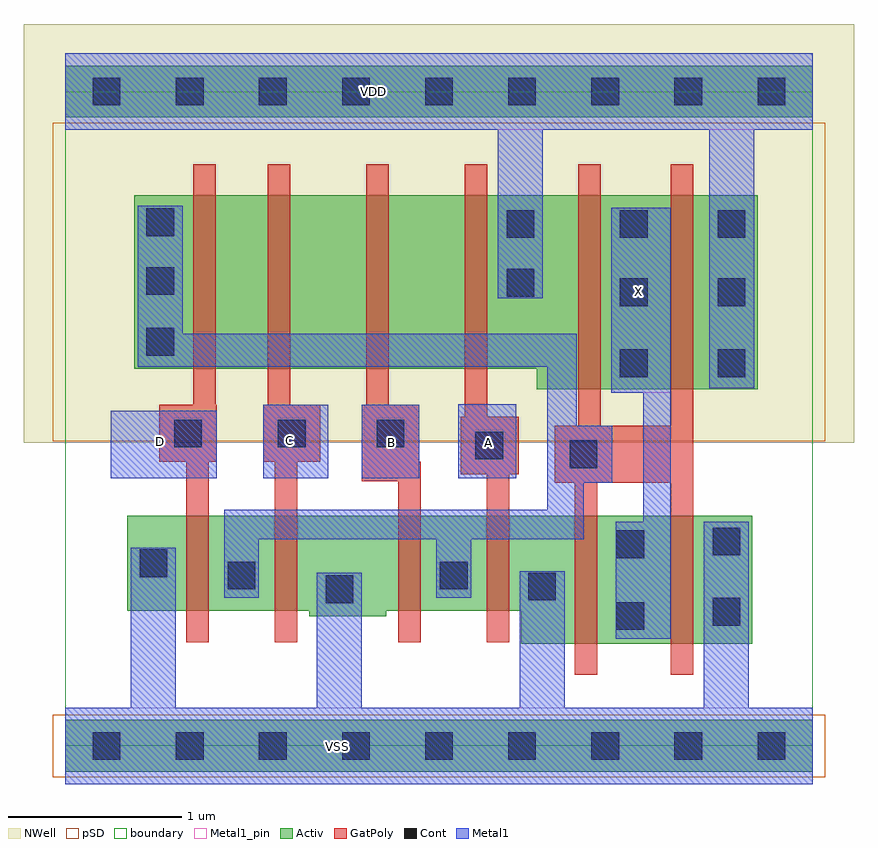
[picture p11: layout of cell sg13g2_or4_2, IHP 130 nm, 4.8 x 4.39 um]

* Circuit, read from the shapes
.subckt sg13g2_or4_2 A B C D VDD VSS X
XM1 n1 D VSS VSS sg13_lv_nmos w=0.55u l=0.13u
XM2 VSS C n1 VSS sg13_lv_nmos w=0.55u l=0.13u
XM3 n1 B VSS VSS sg13_lv_nmos w=0.55u l=0.13u
XM4 VSS A n1 VSS sg13_lv_nmos w=0.55u l=0.13u
XM5 X n1 VSS VSS sg13_lv_nmos w=0.74u l=0.13u m=2
XM6 n2 D n1 VDD sg13_lv_pmos w=1u l=0.13u
XM7 n3 C n2 VDD sg13_lv_pmos w=1u l=0.13u
XM8 n4 B n3 VDD sg13_lv_pmos w=1u l=0.13u
XM9 VDD A n4 VDD sg13_lv_pmos w=1u l=0.13u
XM10 X n1 VDD VDD sg13_lv_pmos w=1.12u l=0.13u m=2
.ends

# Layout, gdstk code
import gdstk
lib = gdstk.Library(unit=1e-6, precision=1e-09)
def R(c, l, rs):  # rectangles x0, y0, x1, y1
    for r in rs: c.add(gdstk.rectangle(r[:2], r[2:], *l))
def P(c, l, *ps):  # polygons
    for p in ps: c.add(gdstk.Polygon(p, *l))
Activ = (1, 0)
GatPoly = (5, 0)
Cont = (6, 0)
Metal1 = (8, 0)
Metal1_pin = (8, 2)
pSD = (14, 0)
NWell = (31, 0)
boundary = (189, 4)

sg13g2_or4_2 = lib.new_cell('sg13g2_or4_2')
R(sg13g2_or4_2, Activ, [(0,-0.15,4.32,0.15), (0,3.63,4.32,3.93)])
P(sg13g2_or4_2, Activ, [(4,3.18),(0.4,3.18),(0.4,2.18),(2.725,2.18),(2.725,2.06),(4,2.06)],
  [(3.97,1.33),(0.36,1.33),(0.36,0.78),(1.41,0.78),(1.41,0.75),(1.855,0.75),(1.855,0.78),(2.635,0.78),(2.635,0.59),(3.97,0.59)])
R(sg13g2_or4_2, GatPoly, [(3.5,0.41,3.63,1.52), (3.16,1.52,3.63,1.85), (3.5,1.84,3.63,1.88), (3.5,1.88,3.63,3.36)])
P(sg13g2_or4_2, GatPoly, [(1.475,1.97),(1.3,1.97),(1.3,3.36),(1.17,3.36),(1.17,1.97),(1.145,1.97),(1.145,1.64),(1.21,1.64),(1.21,0.6),(1.34,0.6),(1.34,1.64),(1.475,1.64)],
  [(3.16,1.85),(3.095,1.85),(3.095,3.36),(2.965,3.36),(2.965,1.85),(2.83,1.85),(2.83,1.52),(2.945,1.52),(2.945,0.41),(3.075,0.41),(3.075,1.52),(3.16,1.52)],
  [(2.045,1.97),(1.87,1.97),(1.87,3.36),(1.74,3.36),(1.74,1.97),(1.715,1.97),(1.715,1.53),(1.925,1.53),(1.925,0.6),(2.055,0.6),(2.055,1.64),(2.045,1.64)],
  [(2.62,1.9),(2.44,1.9),(2.44,3.36),(2.31,3.36),(2.31,1.9),(2.285,1.9),(2.285,1.57),(2.435,1.57),(2.435,0.6),(2.565,0.6),(2.565,1.57),(2.62,1.57)],
  [(0.87,3.36),(0.74,3.36),(0.74,1.97),(0.545,1.97),(0.545,1.64),(0.7,1.64),(0.7,0.6),(0.83,0.6),(0.83,1.64),(0.875,1.64),(0.875,1.97),(0.87,1.97)])
R(sg13g2_or4_2, Cont, [(0.16,-0.08,0.32,0.08), (0.16,-0.08,0.32,0.08), (0.64,-0.08,0.8,0.08), (0.64,-0.08,0.8,0.08), (1.12,-0.08,1.28,0.08), (1.12,-0.08,1.28,0.08), (1.6,-0.08,1.76,0.08), (1.6,-0.08,1.76,0.08), (2.08,-0.08,2.24,0.08), (2.08,-0.08,2.24,0.08), (2.56,-0.08,2.72,0.08), (2.56,-0.08,2.72,0.08), (3.04,-0.08,3.2,0.08), (3.04,-0.08,3.2,0.08), (3.52,-0.08,3.68,0.08), (3.52,-0.08,3.68,0.08), (4,-0.08,4.16,0.08), (3.185,0.67,3.345,0.83), (3.185,0.67,3.345,0.83), (3.74,0.695,3.9,0.855), (1.505,0.825,1.665,0.985), (2.675,0.84,2.835,1), (0.94,0.905,1.1,1.065), (2.165,0.905,2.325,1.065), (0.43,0.975,0.59,1.135), (3.185,1.085,3.345,1.245), (3.185,1.085,3.345,1.245), (3.74,1.1,3.9,1.26), (2.915,1.605,3.075,1.765), (2.37,1.655,2.53,1.815), (0.63,1.725,0.79,1.885), (1.23,1.725,1.39,1.885), (1.8,1.725,1.96,1.885), (3.205,2.13,3.365,2.29), (3.205,2.13,3.365,2.29), (3.77,2.13,3.93,2.29), (0.47,2.255,0.63,2.415), (3.205,2.54,3.365,2.7), (3.205,2.54,3.365,2.7), (3.77,2.54,3.93,2.7), (2.55,2.595,2.71,2.755), (0.47,2.605,0.63,2.765), (2.55,2.935,2.71,3.095), (3.205,2.935,3.365,3.095), (3.205,2.935,3.365,3.095), (3.77,2.935,3.93,3.095), (0.47,2.945,0.63,3.105), (0.16,3.7,0.32,3.86), (0.16,3.7,0.32,3.86), (0.64,3.7,0.8,3.86), (0.64,3.7,0.8,3.86), (1.12,3.7,1.28,3.86), (1.12,3.7,1.28,3.86), (1.6,3.7,1.76,3.86), (1.6,3.7,1.76,3.86), (2.08,3.7,2.24,3.86), (2.08,3.7,2.24,3.86), (2.56,3.7,2.72,3.86), (2.56,3.7,2.72,3.86), (3.04,3.7,3.2,3.86), (3.04,3.7,3.2,3.86), (3.52,3.7,3.68,3.86), (3.52,3.7,3.68,3.86), (4,3.7,4.16,3.86)])
R(sg13g2_or4_2, Metal1, [(0.265,1.545,0.875,1.935), (1.145,1.545,1.52,1.97), (1.715,1.545,2.045,1.97), (2.27,1.545,2.605,1.975)])
P(sg13g2_or4_2, Metal1, [(3.16,1.85),(2.955,1.85),(2.955,2.38),(0.68,2.38),(0.68,3.12),(0.42,3.12),(0.42,2.19),(2.785,2.19),(2.785,1.365),(0.92,1.365),(0.92,0.855),(1.12,0.855),(1.12,1.195),(2.145,1.195),(2.145,0.855),(2.345,0.855),(2.345,1.195),(2.995,1.195),(2.995,1.52),(3.16,1.52)],
  [(3.5,3.11),(3.155,3.11),(3.155,2.04),(3.34,2.04),(3.34,1.295),(3.18,1.295),(3.18,0.62),(3.5,0.62)],
  [(4.32,4),(0,4),(0,3.56),(2.5,3.56),(2.5,2.585),(2.76,2.585),(2.76,3.56),(3.72,3.56),(3.72,2.065),(3.98,2.065),(3.98,3.56),(4.32,3.56)],
  [(4.32,0.22),(3.95,0.22),(3.95,1.295),(3.69,1.295),(3.69,0.22),(2.885,0.22),(2.885,1.01),(2.625,1.01),(2.625,0.22),(1.715,0.22),(1.715,1),(1.455,1),(1.455,0.22),(0.64,0.22),(0.64,1.145),(0.38,1.145),(0.38,0.22),(0,0.22),(0,-0.22),(4.32,-0.22)])
R(sg13g2_or4_2, Metal1_pin, [(0,-0.22,4.32,0.22), (0.265,1.545,0.875,1.935), (1.145,1.545,1.52,1.97), (1.715,1.545,2.045,1.97), (2.27,1.545,2.605,1.975), (3.155,2.04,3.5,3.105), (0,3.56,4.32,4)])
R(sg13g2_or4_2, pSD, [(-0.07,-0.18,4.39,0.18), (-0.07,1.76,4.39,3.6)])
R(sg13g2_or4_2, NWell, [(-0.24,1.75,4.56,4.17)])
R(sg13g2_or4_2, boundary, [(0,0,4.32,3.78)])
sg13g2_or4_2.add(gdstk.Label('X', (3.315,2.625), layer=8, texttype=25))
sg13g2_or4_2.add(gdstk.Label('C', (1.295,1.765), layer=8, texttype=25))
sg13g2_or4_2.add(gdstk.Label('D', (0.55,1.76), layer=8, texttype=25))
sg13g2_or4_2.add(gdstk.Label('VDD', (1.78,3.78), layer=8, texttype=25))
sg13g2_or4_2.add(gdstk.Label('VSS', (1.575,-0.005), layer=8, texttype=25))
sg13g2_or4_2.add(gdstk.Label('A', (2.445,1.755), layer=8, texttype=25))
sg13g2_or4_2.add(gdstk.Label('B', (1.885,1.755), layer=8, texttype=25))

lib.write_gds('sg13g2_or4_2.gds')
